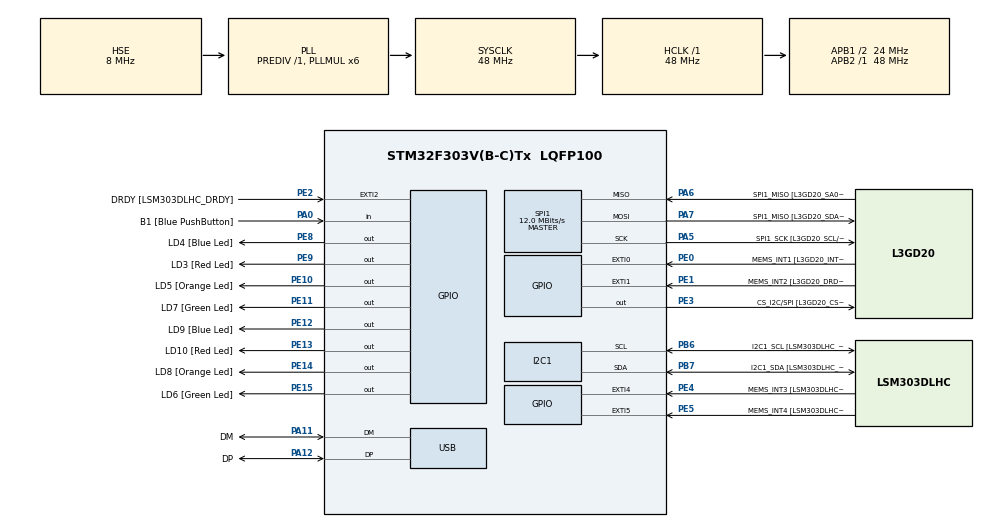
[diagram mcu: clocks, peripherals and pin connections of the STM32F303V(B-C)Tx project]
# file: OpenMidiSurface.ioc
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I2C1.Timing=0x2000090E
I2C1.Timing-I2C=0x2000090E
Mcu.Family=STM32F3
Mcu.Name=STM32F303V(B-C)Tx
Mcu.Package=LQFP100
NVIC.PriorityGroup=NVIC_PRIORITYGROUP_0
NVIC.USB_LP_CAN_RX0_IRQn=true\:0\:0\:false\:false\:true\:true\:true\:true
PA0.GPIO_Label=B1 [Blue PushButton]
PA0.Signal=GPIO_Input
PA11.GPIO_Label=DM
PA11.Mode=Device
PA11.Signal=USB_DM
PA12.GPIO_Label=DP
PA12.Mode=Device
PA12.Signal=USB_DP
PA13.GPIO_Label=SWDIO
PA13.Mode=Serial_Wire
PA13.Signal=SYS_JTMS-SWDIO
PA14.GPIO_Label=SWCLK
PA14.Mode=Serial_Wire
PA14.Signal=SYS_JTCK-SWCLK
PA5.GPIO_Label=SPI1_SCK [L3GD20_SCL/SPC]
PA5.Mode=Full_Duplex_Master
PA5.Signal=SPI1_SCK
PA6.GPIO_Label=SPI1_MISO [L3GD20_SA0/SDO]
PA6.Mode=Full_Duplex_Master
PA6.Signal=SPI1_MISO
PA7.GPIO_Label=SPI1_MISO [L3GD20_SDA/SDI/SDO]
PA7.Mode=Full_Duplex_Master
PA7.Signal=SPI1_MOSI
PB3.GPIO_Label=SWO
PB3.Signal=SYS_JTDO-TRACESWO
PB6.GPIO_Label=I2C1_SCL [LSM303DLHC_SCL]
PB6.GPIO_Pu=GPIO_PULLUP
PB6.Mode=I2C
PB6.Signal=I2C1_SCL
PB7.GPIO_Label=I2C1_SDA [LSM303DLHC_SDA]
PB7.GPIO_Pu=GPIO_PULLUP
PB7.Mode=I2C
PB7.Signal=I2C1_SDA
PC14-OSC32_IN.GPIO_Label=OSC32_IN
PC14-OSC32_IN.Signal=RCC_OSC32_IN
PC15-OSC32_OUT.GPIO_Label=OSC32_OUT
PC15-OSC32_OUT.Signal=RCC_OSC32_OUT
PE0.GPIO_Label=MEMS_INT1 [L3GD20_INT1]
PE0.GPIO_ModeDefaultEXTI=GPIO_MODE_EVT_RISING
PE0.Signal=GPXTI0
PE1.GPIO_Label=MEMS_INT2 [L3GD20_DRDY/INT2]
PE1.GPIO_ModeDefaultEXTI=GPIO_MODE_EVT_RISING
PE1.Signal=GPXTI1
PE10.GPIO_Label=LD5 [Orange Led]
PE10.Signal=GPIO_Output
PE11.GPIO_Label=LD7 [Green Led]
PE11.Signal=GPIO_Output
PE12.GPIO_Label=LD9 [Blue Led]
PE12.Signal=GPIO_Output
PE13.GPIO_Label=LD10 [Red Led]
PE13.Signal=GPIO_Output
PE14.GPIO_Label=LD8 [Orange Led]
PE14.Signal=GPIO_Output
PE15.GPIO_Label=LD6 [Green Led]
PE15.Signal=GPIO_Output
PE2.GPIO_Label=DRDY [LSM303DLHC_DRDY]
PE2.GPIO_ModeDefaultEXTI=GPIO_MODE_EVT_RISING
PE2.Signal=GPXTI2
PE3.GPIO_Label=CS_I2C/SPI [L3GD20_CS_I2C/SPI]
PE3.Signal=GPIO_Output
PE4.GPIO_Label=MEMS_INT3 [LSM303DLHC_INT1]
PE4.GPIO_ModeDefaultEXTI=GPIO_MODE_EVT_RISING
PE4.Signal=GPXTI4
PE5.GPIO_Label=MEMS_INT4 [LSM303DLHC_INT2]
PE5.GPIO_ModeDefaultEXTI=GPIO_MODE_EVT_RISING
PE5.Signal=GPXTI5
PE8.GPIO_Label=LD4 [Blue Led]
PE8.Signal=GPIO_Output
PE9.GPIO_Label=LD3 [Red Led]
PE9.Signal=GPIO_Output
PF0-OSC_IN.GPIO_Label=OSC_IN
PF0-OSC_IN.Mode=HSE-External-Clock-Source
PF0-OSC_IN.Signal=RCC_OSC_IN
PF1-OSC_OUT.GPIO_Label=OSC_OUT
PF1-OSC_OUT.Signal=RCC_OSC_OUT
ProjectManager.HeapSize=0x200
ProjectManager.StackSize=0x400
ProjectManager.TargetToolchain=STM32CubeIDE
RCC.AHBFreq_Value=48000000
RCC.APB1CLKDivider=RCC_HCLK_DIV2
RCC.APB1Freq_Value=24000000
RCC.APB1TimFreq_Value=48000000
RCC.APB2Freq_Value=48000000
RCC.APB2TimFreq_Value=48000000
RCC.CortexFreq_Value=48000000
RCC.HCLKFreq_Value=48000000
RCC.HSE_VALUE=8000000
RCC.HSI_VALUE=8000000
RCC.LSE_VALUE=32768
RCC.PLLMUL=RCC_PLL_MUL6
RCC.SYSCLKFreq_VALUE=48000000
RCC.SYSCLKSourceVirtual=RCC_SYSCLKSOURCE_PLLCLK
RCC.USBFreq_Value=48000000
SPI1.BaudRatePrescaler=SPI_BAUDRATEPRESCALER_4
SPI1.BaudRatePrescaler-Full_Duplex_Master=SPI_BAUDRATEPRESCALER_2
SPI1.CalculateBaudRate=12.0 MBits/s
SPI1.CalculateBaudRate-Full_Duplex_Master=24.0 MBits/s
SPI1.Direction=SPI_DIRECTION_2LINES
SPI1.Mode=SPI_MODE_MASTER
SPI1.Mode-Full_Duplex_Master=SPI_MODE_MASTER
SPI1.VirtualType=VM_MASTER
board=STM32F3DISCOVERY

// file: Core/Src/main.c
/* USER CODE BEGIN Header */
/**
  ******************************************************************************
  * @file           : main.c
  * @brief          : Main program body
  ******************************************************************************
  * @attention
  *
  * Copyright (c) 2022 STMicroelectronics.
  * All rights reserved.
  *
  * This software is licensed under terms that can be found in the LICENSE file
  * in the root directory of this software component.
  * If no LICENSE file comes with this software, it is provided AS-IS.
  *
  ******************************************************************************
  */
/* USER CODE END Header */
#include "main.h"

/* USER CODE BEGIN Includes */
#include "usb_device.h"
#include "usbd_midi_if.h"
/* USER CODE END Includes */

 I2C_HandleTypeDef hi2c1;

SPI_HandleTypeDef hspi1;

PCD_HandleTypeDef hpcd_USB_FS;

void SystemClock_Config(void);
static void MX_GPIO_Init(void);
static void MX_I2C1_Init(void);
static void MX_SPI1_Init(void);
static void MX_USB_PCD_Init(void);

int main(void)
{

  /* MCU Configuration--------------------------------------------------------*/

  /* Reset of all peripherals, Initializes the Flash interface and the Systick. */
  HAL_Init();

  /* Configure the system clock */
  SystemClock_Config();

  /* Initialize all configured peripherals */
  MX_GPIO_Init();
  MX_I2C1_Init();
  MX_SPI1_Init();
  MX_USB_PCD_Init();

  /* USER CODE BEGIN 2 */

  // Initialize the USB Device. Note that this will overwrite any USB settings
  // that are selected in the Cube configurator (e.g. low power, speed, etc.)
  MX_USB_DEVICE_Init();
  // Initialize the ring buffer, used for sending and receiving MIDI messages
  openMidiSurface_init();
  // Initialize the register value corresponding to the first LED
  // on the STM32F3Discovery board
  uint32_t reg_value = 256;
  // Initialize the array of notes. Each time we press the user button, the
  // next note of the array will be sent as a MIDI message via USB
  uint8_t notes[12] = {60, 63, 65, 66, 67, 70, 72, 70, 67, 66, 65, 63};
  uint8_t note_idx = 0; // Current note index
  uint8_t vel = 64; // Default note velocity

  /* USER CODE END 2 */

  /* Infinite loop */
  /* USER CODE BEGIN WHILE */
  while (1)
  {
	  /* If the button has been pressed down... */
	  if (HAL_GPIO_ReadPin(GPIOA,GPIO_PIN_0) == 1)
	  {
		/* Turn on a LED and send the note on */
		GPIOE->BSRR = reg_value;
		sendNoteOn(0, notes[note_idx], vel);
		processMidiMessage();
		/* And if I KEEP pressing it down ... */
		while (HAL_GPIO_ReadPin(GPIOA,GPIO_PIN_0) != 0)
		{
			/* ... do some sleep until the button is released. */
			HAL_Delay(50);
		}
		/* Once the button is released, keep the LED running... */
		while (HAL_GPIO_ReadPin(GPIOA,GPIO_PIN_0) == 0)
		{
			/* ... and do some sleep until the button is pressed again. */
			HAL_Delay(50);
		}

		/* Turn on the next LED. */
		GPIOE->BSRR = reg_value << 16;
		reg_value <<= 1;
		if (reg_value == 65536)
		{
			reg_value = 256;
		}
		/* Send noteOff for the old note noteOn for the new note */
		sendNoteOff(0, notes[note_idx]);
		processMidiMessage();
		HAL_Delay(10);
		note_idx++;
		if(note_idx > 11)
			note_idx = 0;
	  }
    /* USER CODE END WHILE */

  }
}

void SystemClock_Config(void)
{
  RCC_OscInitTypeDef RCC_OscInitStruct = {0};
  RCC_ClkInitTypeDef RCC_ClkInitStruct = {0};
  RCC_PeriphCLKInitTypeDef PeriphClkInit = {0};

  /** Initializes the RCC Oscillators according to the specified parameters
  * in the RCC_OscInitTypeDef structure.
  */
  RCC_OscInitStruct.OscillatorType = RCC_OSCILLATORTYPE_HSI|RCC_OSCILLATORTYPE_HSE;
  RCC_OscInitStruct.HSEState = RCC_HSE_BYPASS;
  RCC_OscInitStruct.HSEPredivValue = RCC_HSE_PREDIV_DIV1;
  RCC_OscInitStruct.HSIState = RCC_HSI_ON;
  RCC_OscInitStruct.HSICalibrationValue = RCC_HSICALIBRATION_DEFAULT;
  RCC_OscInitStruct.PLL.PLLState = RCC_PLL_ON;
  RCC_OscInitStruct.PLL.PLLSource = RCC_PLLSOURCE_HSE;
  RCC_OscInitStruct.PLL.PLLMUL = RCC_PLL_MUL6;
  if (HAL_RCC_OscConfig(&RCC_OscInitStruct) != HAL_OK)
  {
    Error_Handler();
  }

  /** Initializes the CPU, AHB and APB buses clocks
  */
  RCC_ClkInitStruct.ClockType = RCC_CLOCKTYPE_HCLK|RCC_CLOCKTYPE_SYSCLK
                              |RCC_CLOCKTYPE_PCLK1|RCC_CLOCKTYPE_PCLK2;
  RCC_ClkInitStruct.SYSCLKSource = RCC_SYSCLKSOURCE_PLLCLK;
  RCC_ClkInitStruct.AHBCLKDivider = RCC_SYSCLK_DIV1;
  RCC_ClkInitStruct.APB1CLKDivider = RCC_HCLK_DIV2;
  RCC_ClkInitStruct.APB2CLKDivider = RCC_HCLK_DIV1;

  if (HAL_RCC_ClockConfig(&RCC_ClkInitStruct, FLASH_LATENCY_1) != HAL_OK)
  {
    Error_Handler();
  }
  PeriphClkInit.PeriphClockSelection = RCC_PERIPHCLK_USB|RCC_PERIPHCLK_I2C1;
  PeriphClkInit.I2c1ClockSelection = RCC_I2C1CLKSOURCE_HSI;
  PeriphClkInit.USBClockSelection = RCC_USBCLKSOURCE_PLL;
  if (HAL_RCCEx_PeriphCLKConfig(&PeriphClkInit) != HAL_OK)
  {
    Error_Handler();
  }
}

static void MX_I2C1_Init(void)
{

  hi2c1.Instance = I2C1;
  hi2c1.Init.Timing = 0x2000090E;
  hi2c1.Init.OwnAddress1 = 0;
  hi2c1.Init.AddressingMode = I2C_ADDRESSINGMODE_7BIT;
  hi2c1.Init.DualAddressMode = I2C_DUALADDRESS_DISABLE;
  hi2c1.Init.OwnAddress2 = 0;
  hi2c1.Init.OwnAddress2Masks = I2C_OA2_NOMASK;
  hi2c1.Init.GeneralCallMode = I2C_GENERALCALL_DISABLE;
  hi2c1.Init.NoStretchMode = I2C_NOSTRETCH_DISABLE;
  if (HAL_I2C_Init(&hi2c1) != HAL_OK)
  {
    Error_Handler();
  }

  /** Configure Analogue filter
  */
  if (HAL_I2CEx_ConfigAnalogFilter(&hi2c1, I2C_ANALOGFILTER_ENABLE) != HAL_OK)
  {
    Error_Handler();
  }

  /** Configure Digital filter
  */
  if (HAL_I2CEx_ConfigDigitalFilter(&hi2c1, 0) != HAL_OK)
  {
    Error_Handler();
  }

}

static void MX_SPI1_Init(void)
{

  /* SPI1 parameter configuration*/
  hspi1.Instance = SPI1;
  hspi1.Init.Mode = SPI_MODE_MASTER;
  hspi1.Init.Direction = SPI_DIRECTION_2LINES;
  hspi1.Init.DataSize = SPI_DATASIZE_4BIT;
  hspi1.Init.CLKPolarity = SPI_POLARITY_LOW;
  hspi1.Init.CLKPhase = SPI_PHASE_1EDGE;
  hspi1.Init.NSS = SPI_NSS_SOFT;
  hspi1.Init.BaudRatePrescaler = SPI_BAUDRATEPRESCALER_4;
  hspi1.Init.FirstBit = SPI_FIRSTBIT_MSB;
  hspi1.Init.TIMode = SPI_TIMODE_DISABLE;
  hspi1.Init.CRCCalculation = SPI_CRCCALCULATION_DISABLE;
  hspi1.Init.CRCPolynomial = 7;
  hspi1.Init.CRCLength = SPI_CRC_LENGTH_DATASIZE;
  hspi1.Init.NSSPMode = SPI_NSS_PULSE_ENABLE;
  if (HAL_SPI_Init(&hspi1) != HAL_OK)
  {
    Error_Handler();
  }

}

static void MX_USB_PCD_Init(void)
{

  hpcd_USB_FS.Instance = USB;
  hpcd_USB_FS.Init.dev_endpoints = 8;
  hpcd_USB_FS.Init.speed = PCD_SPEED_FULL;
  hpcd_USB_FS.Init.phy_itface = PCD_PHY_EMBEDDED;
  hpcd_USB_FS.Init.low_power_enable = DISABLE;
  hpcd_USB_FS.Init.battery_charging_enable = DISABLE;
  if (HAL_PCD_Init(&hpcd_USB_FS) != HAL_OK)
  {
    Error_Handler();
  }

}

static void MX_GPIO_Init(void)
{
  GPIO_InitTypeDef GPIO_InitStruct = {0};

  /* GPIO Ports Clock Enable */
  __HAL_RCC_GPIOE_CLK_ENABLE();
  __HAL_RCC_GPIOC_CLK_ENABLE();
  __HAL_RCC_GPIOF_CLK_ENABLE();
  __HAL_RCC_GPIOA_CLK_ENABLE();
  __HAL_RCC_GPIOB_CLK_ENABLE();

  /*Configure GPIO pin Output Level */
  HAL_GPIO_WritePin(GPIOE, CS_I2C_SPI_Pin|LD4_Pin|LD3_Pin|LD5_Pin
                          |LD7_Pin|LD9_Pin|LD10_Pin|LD8_Pin
                          |LD6_Pin, GPIO_PIN_RESET);

  /*Configure GPIO pins : DRDY_Pin MEMS_INT3_Pin MEMS_INT4_Pin MEMS_INT1_Pin
                           MEMS_INT2_Pin */
  GPIO_InitStruct.Pin = DRDY_Pin|MEMS_INT3_Pin|MEMS_INT4_Pin|MEMS_INT1_Pin
                          |MEMS_INT2_Pin;
  GPIO_InitStruct.Mode = GPIO_MODE_EVT_RISING;
  GPIO_InitStruct.Pull = GPIO_NOPULL;
  HAL_GPIO_Init(GPIOE, &GPIO_InitStruct);

  /*Configure GPIO pins : CS_I2C_SPI_Pin LD4_Pin LD3_Pin LD5_Pin
                           LD7_Pin LD9_Pin LD10_Pin LD8_Pin
                           LD6_Pin */
  GPIO_InitStruct.Pin = CS_I2C_SPI_Pin|LD4_Pin|LD3_Pin|LD5_Pin
                          |LD7_Pin|LD9_Pin|LD10_Pin|LD8_Pin
                          |LD6_Pin;
  GPIO_InitStruct.Mode = GPIO_MODE_OUTPUT_PP;
  GPIO_InitStruct.Pull = GPIO_NOPULL;
  GPIO_InitStruct.Speed = GPIO_SPEED_FREQ_LOW;
  HAL_GPIO_Init(GPIOE, &GPIO_InitStruct);

  /*Configure GPIO pin : B1_Pin */
  GPIO_InitStruct.Pin = B1_Pin;
  GPIO_InitStruct.Mode = GPIO_MODE_INPUT;
  GPIO_InitStruct.Pull = GPIO_NOPULL;
  HAL_GPIO_Init(B1_GPIO_Port, &GPIO_InitStruct);

}

void Error_Handler(void)
{
  __disable_irq();
  while (1)
  {
  }
}
